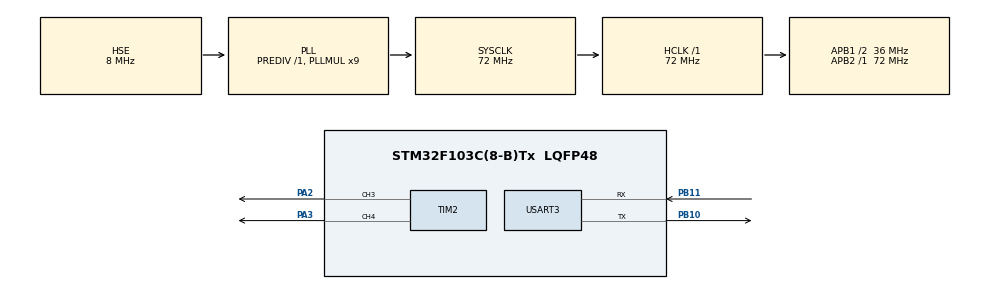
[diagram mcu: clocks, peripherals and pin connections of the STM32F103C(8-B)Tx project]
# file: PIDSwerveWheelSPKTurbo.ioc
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Mcu.Family=STM32F1
Mcu.Name=STM32F103C(8-B)Tx
Mcu.Package=LQFP48
NVIC.PriorityGroup=NVIC_PRIORITYGROUP_4
NVIC.TIM1_UP_IRQn=true\:15\:0\:false\:false\:true\:false\:true\:true
NVIC.TimeBase=TIM1_UP_IRQn
NVIC.TimeBaseIP=TIM1
NVIC.USART3_IRQn=true\:0\:0\:false\:false\:true\:true\:true\:true
PA13.Mode=Serial_Wire
PA13.Signal=SYS_JTMS-SWDIO
PA14.Mode=Serial_Wire
PA14.Signal=SYS_JTCK-SWCLK
PA2.Signal=S_TIM2_CH3
PA3.Signal=S_TIM2_CH4
PB10.Mode=Asynchronous
PB10.Signal=USART3_TX
PB11.Mode=Asynchronous
PB11.Signal=USART3_RX
PD0-OSC_IN.Mode=HSE-External-Oscillator
PD0-OSC_IN.Signal=RCC_OSC_IN
PD1-OSC_OUT.Mode=HSE-External-Oscillator
PD1-OSC_OUT.Signal=RCC_OSC_OUT
ProjectManager.HeapSize=0x200
ProjectManager.StackSize=0x400
ProjectManager.TargetToolchain=STM32CubeIDE
RCC.AHBFreq_Value=72000000
RCC.APB1CLKDivider=RCC_HCLK_DIV2
RCC.APB1Freq_Value=36000000
RCC.APB1TimFreq_Value=72000000
RCC.APB2Freq_Value=72000000
RCC.APB2TimFreq_Value=72000000
RCC.HCLKFreq_Value=72000000
RCC.PLLMUL=RCC_PLL_MUL9
RCC.PLLSourceVirtual=RCC_PLLSOURCE_HSE
RCC.SYSCLKFreq_VALUE=72000000
RCC.SYSCLKSource=RCC_SYSCLKSOURCE_PLLCLK
RCC.USBFreq_Value=72000000
SH.S_TIM2_CH3.0=TIM2_CH3,PWM Generation3 CH3
SH.S_TIM2_CH4.0=TIM2_CH4,PWM Generation4 CH4
TIM2.Channel-PWM\ Generation3\ CH3=TIM_CHANNEL_3
TIM2.Channel-PWM\ Generation4\ CH4=TIM_CHANNEL_4
TIM3.Period=1000-1
TIM3.Prescaler=72-1
TIM4.Period=1000-1
TIM4.Prescaler=72-1
USART3.VirtualMode=VM_ASYNC
VP_SYS_VS_tim1.Mode=TIM1
VP_TIM3_VS_ClockSourceINT.Mode=Internal
VP_TIM4_VS_ClockSourceINT.Mode=Internal
board=custom

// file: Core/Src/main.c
/* USER CODE BEGIN Header */
/**
  ******************************************************************************
  * @file           : main.c
  * @brief          : Main program body
  ******************************************************************************
  * @attention
  *
  * Copyright (c) 2023 STMicroelectronics.
  * All rights reserved.
  *
  * This software is licensed under terms that can be found in the LICENSE file
  * in the root directory of this software component.
  * If no LICENSE file comes with this software, it is provided AS-IS.
  *
  ******************************************************************************
  */
/* USER CODE END Header */
#include "main.h"

/* USER CODE BEGIN Includes */
#include "PID.h"
#include "string.h"
#include "stdlib.h"
/* USER CODE END Includes */

/* USER CODE BEGIN PM */
/* ---------------------------Begin: General Macro----------------------------*/

#define __SecPerMin	60

/* ---------------------------End: General Macro------------------------------*/

/* ---------------------------Begin: Initial Macro----------------------------*/

#define AtHome 0
#define OutHome 1
#define IntialFindingSpeed 20
#define AccurateFindingSpeed 2
#define FindingDegreeAboveLimit 180
#define FindingDegreeBelowLimit -180
#define AccurateFindingDegreeAboveLimit 10
#define AccurateFindingDegreeBelowLimit -10
#define IntialState 0
#define IntialStopAndResetState 1
#define AccurateFindingState 2
#define AccurateStopAndResetState 3
#define EndState 4

/* ---------------------------End: Initial Macro------------------------------*/

/* ------------------------------------------------------------------------------------------------------------------*/

/* ---------------------------Begin: BLDC Macro--------------------------------*/

#define BLDCDeltaT 0.001
#define __BLDCPPR 0	// undefined
#define __BLDCGearRatio 0	// undefined

/* ---------------------------End: BLDC Macro----------------------------------*/

/* ---------------------------Begin: PID BLDC Macro----------------------------*/

#define BLDCPropotional 0	// undefined
#define BLDCIntergral 0	// undefined
#define BLDCDerivative 0	// undefined
#define BLDCAlpha 0	// undefined
#define BLDCDeltaT 0.001
#define BLDCClockWise 1
#define BLDCCounterClockWise 0
#define BLDCIntergralAboveLimit 1000
#define BLDCIntergralBelowLimit -1000
#define BLDCSumAboveLimit 1000
#define BLDCSumBelowLimit -1000

double target_BLDC_Speed;

/* ---------------------------End: PID BLDC Macro------------------------------*/

/* ---------------------------Begin: DC Macro----------------------------------*/

#define DCDeltaT 0.001
#define __DCPPR 0	// undefined
#define __DCGearRatio 0	// undefined

/* ---------------------------End: DC Macro------------------------------------*/

/* ---------------------------Begin: PID DC Macro (SPEED)----------------------*/

#define DC_SpeedPropotional 0	// undefined
#define DC_SpeedIntergral 0	// undefined
#define DC_SpeedDerivative 0	// undefined
#define DC_SpeedAlpha 0	// undefined
#define DC_SpeedDeltaT 0.001
#define DC_SpeedStop 0
#define DC_SpeedIntergralAboveLimit 1000
#define DC_SpeedIntergralBelowLimit -1000
#define DC_SpeedSumAboveLimit 1000
#define DC_SpeedSumBelowLimit -1000

double target_DC_Speed;

/* ---------------------------End: PID DC Macro (SPEED)------------------------*/

/* ---------------------------Begin: PID DC Macro (POSITION)-------------------*/

#define DC_PositionPropotional 0
#define DC_PositionIntergral 0
#define DC_PositionDerivative 0
#define DC_PositionAlpha 0
#define DC_PositionDeltaT 0.001
#define DC_PositionIntergralAboveLimit 1000
#define DC_PositionIntergralBelowLimit -1000
#define DC_PositionSumAboveLimit 1000
#define DC_PositionSumBelowLimit -1000
#define FilterAlpha 0

double target_DC_Position;

/* ---------------------------End: PID DC Macro (POSITION)---------------------*/

/* ------------------------------------------------------------------------------------------------------------------*/

/* USER CODE END PM */

TIM_HandleTypeDef htim2;
TIM_HandleTypeDef htim3;
TIM_HandleTypeDef htim4;

UART_HandleTypeDef huart3;

/* USER CODE BEGIN PV */
/* --------------------------Begin: Home Variables----------------------------*/

uint8_t HomeState;
uint8_t RunState;
uint8_t IntialSpeed;
uint8_t HomeFound;
uint8_t TestCommand;
int TestCommand2;

/* --------------------------End: Home Variables------------------------------*/

/* --------------------------Begin: Encoder Read Variables--------------------*/

int8_t RotateState = 1;

/* --------------------------End: Encoder Read Variables----------------------*/

PID_Param PID_BLDC;
PID_Param PID_DC_SPEED;
PID_Param PID_DC_POSITION;

EncoderRead ENC_BLDC;
EncoderRead ENC_DC;

MotorDrive BLDC;
MotorDrive DC;

/* ------------------------------------------------------------------------------------------------------------------*/

/* USER CODE END PV */

void SystemClock_Config(void);
static void MX_GPIO_Init(void);
static void MX_TIM2_Init(void);
static void MX_TIM3_Init(void);
static void MX_TIM4_Init(void);
static void MX_USART3_UART_Init(void);

int main(void)
{

  /* MCU Configuration--------------------------------------------------------*/

  /* Reset of all peripherals, Initializes the Flash interface and the Systick. */
  HAL_Init();

  /* Configure the system clock */
  SystemClock_Config();

  /* Initialize all configured peripherals */
  MX_GPIO_Init();
  MX_TIM2_Init();
  MX_TIM3_Init();
  MX_TIM4_Init();
  MX_USART3_UART_Init();
  /* USER CODE BEGIN 2 */
  HAL_TIM_PWM_Start(&htim2, TIM_CHANNEL_3);
  HAL_TIM_PWM_Start(&htim2, TIM_CHANNEL_4);
  HAL_TIM_Encoder_Start_IT(&htim3, TIM_CHANNEL_ALL);
  HAL_TIM_Encoder_Start_IT(&htim4, TIM_CHANNEL_ALL);

  HAL_Delay(1000);

  EncoderSetting(&ENC_BLDC, &htim3, __BLDCPPR * __BLDCGearRatio, BLDCDeltaT);
  EncoderSetting(&ENC_DC, &htim4, __DCPPR * __DCGearRatio, DCDeltaT);

  Pid_SetParam(&PID_BLDC, BLDCPropotional, BLDCIntergral, BLDCDerivative, BLDCAlpha, BLDCDeltaT, BLDCIntergralAboveLimit, BLDCIntergralBelowLimit, BLDCSumAboveLimit, BLDCSumBelowLimit);
  Pid_

  /* USER CODE END 2 */

  /* Infinite loop */
  while (1)
  {

  }
}

void SystemClock_Config(void)
{
  RCC_OscInitTypeDef RCC_OscInitStruct = {0};
  RCC_ClkInitTypeDef RCC_ClkInitStruct = {0};

  /** Initializes the RCC Oscillators according to the specified parameters
  * in the RCC_OscInitTypeDef structure.
  */
  RCC_OscInitStruct.OscillatorType = RCC_OSCILLATORTYPE_HSE;
  RCC_OscInitStruct.HSEState = RCC_HSE_ON;
  RCC_OscInitStruct.HSEPredivValue = RCC_HSE_PREDIV_DIV1;
  RCC_OscInitStruct.HSIState = RCC_HSI_ON;
  RCC_OscInitStruct.PLL.PLLState = RCC_PLL_ON;
  RCC_OscInitStruct.PLL.PLLSource = RCC_PLLSOURCE_HSE;
  RCC_OscInitStruct.PLL.PLLMUL = RCC_PLL_MUL9;
  if (HAL_RCC_OscConfig(&RCC_OscInitStruct) != HAL_OK)
  {
    Error_Handler();
  }

  /** Initializes the CPU, AHB and APB buses clocks
  */
  RCC_ClkInitStruct.ClockType = RCC_CLOCKTYPE_HCLK|RCC_CLOCKTYPE_SYSCLK
                              |RCC_CLOCKTYPE_PCLK1|RCC_CLOCKTYPE_PCLK2;
  RCC_ClkInitStruct.SYSCLKSource = RCC_SYSCLKSOURCE_PLLCLK;
  RCC_ClkInitStruct.AHBCLKDivider = RCC_SYSCLK_DIV1;
  RCC_ClkInitStruct.APB1CLKDivider = RCC_HCLK_DIV2;
  RCC_ClkInitStruct.APB2CLKDivider = RCC_HCLK_DIV1;

  if (HAL_RCC_ClockConfig(&RCC_ClkInitStruct, FLASH_LATENCY_2) != HAL_OK)
  {
    Error_Handler();
  }
}

static void MX_TIM2_Init(void)
{

  TIM_MasterConfigTypeDef sMasterConfig = {0};
  TIM_OC_InitTypeDef sConfigOC = {0};

  htim2.Instance = TIM2;
  htim2.Init.Prescaler = 0;
  htim2.Init.CounterMode = TIM_COUNTERMODE_UP;
  htim2.Init.Period = 65535;
  htim2.Init.ClockDivision = TIM_CLOCKDIVISION_DIV1;
  htim2.Init.AutoReloadPreload = TIM_AUTORELOAD_PRELOAD_DISABLE;
  if (HAL_TIM_PWM_Init(&htim2) != HAL_OK)
  {
    Error_Handler();
  }
  sMasterConfig.MasterOutputTrigger = TIM_TRGO_RESET;
  sMasterConfig.MasterSlaveMode = TIM_MASTERSLAVEMODE_DISABLE;
  if (HAL_TIMEx_MasterConfigSynchronization(&htim2, &sMasterConfig) != HAL_OK)
  {
    Error_Handler();
  }
  sConfigOC.OCMode = TIM_OCMODE_PWM1;
  sConfigOC.Pulse = 0;
  sConfigOC.OCPolarity = TIM_OCPOLARITY_HIGH;
  sConfigOC.OCFastMode = TIM_OCFAST_DISABLE;
  if (HAL_TIM_PWM_ConfigChannel(&htim2, &sConfigOC, TIM_CHANNEL_3) != HAL_OK)
  {
    Error_Handler();
  }
  if (HAL_TIM_PWM_ConfigChannel(&htim2, &sConfigOC, TIM_CHANNEL_4) != HAL_OK)
  {
    Error_Handler();
  }
  HAL_TIM_MspPostInit(&htim2);

}

static void MX_TIM3_Init(void)
{

  TIM_ClockConfigTypeDef sClockSourceConfig = {0};
  TIM_MasterConfigTypeDef sMasterConfig = {0};

  htim3.Instance = TIM3;
  htim3.Init.Prescaler = 72-1;
  htim3.Init.CounterMode = TIM_COUNTERMODE_UP;
  htim3.Init.Period = 1000-1;
  htim3.Init.ClockDivision = TIM_CLOCKDIVISION_DIV1;
  htim3.Init.AutoReloadPreload = TIM_AUTORELOAD_PRELOAD_DISABLE;
  if (HAL_TIM_Base_Init(&htim3) != HAL_OK)
  {
    Error_Handler();
  }
  sClockSourceConfig.ClockSource = TIM_CLOCKSOURCE_INTERNAL;
  if (HAL_TIM_ConfigClockSource(&htim3, &sClockSourceConfig) != HAL_OK)
  {
    Error_Handler();
  }
  sMasterConfig.MasterOutputTrigger = TIM_TRGO_RESET;
  sMasterConfig.MasterSlaveMode = TIM_MASTERSLAVEMODE_DISABLE;
  if (HAL_TIMEx_MasterConfigSynchronization(&htim3, &sMasterConfig) != HAL_OK)
  {
    Error_Handler();
  }

}

static void MX_TIM4_Init(void)
{

  TIM_ClockConfigTypeDef sClockSourceConfig = {0};
  TIM_MasterConfigTypeDef sMasterConfig = {0};

  htim4.Instance = TIM4;
  htim4.Init.Prescaler = 72-1;
  htim4.Init.CounterMode = TIM_COUNTERMODE_UP;
  htim4.Init.Period = 1000-1;
  htim4.Init.ClockDivision = TIM_CLOCKDIVISION_DIV1;
  htim4.Init.AutoReloadPreload = TIM_AUTORELOAD_PRELOAD_DISABLE;
  if (HAL_TIM_Base_Init(&htim4) != HAL_OK)
  {
    Error_Handler();
  }
  sClockSourceConfig.ClockSource = TIM_CLOCKSOURCE_INTERNAL;
  if (HAL_TIM_ConfigClockSource(&htim4, &sClockSourceConfig) != HAL_OK)
  {
    Error_Handler();
  }
  sMasterConfig.MasterOutputTrigger = TIM_TRGO_RESET;
  sMasterConfig.MasterSlaveMode = TIM_MASTERSLAVEMODE_DISABLE;
  if (HAL_TIMEx_MasterConfigSynchronization(&htim4, &sMasterConfig) != HAL_OK)
  {
    Error_Handler();
  }

}

static void MX_USART3_UART_Init(void)
{

  huart3.Instance = USART3;
  huart3.Init.BaudRate = 115200;
  huart3.Init.WordLength = UART_WORDLENGTH_8B;
  huart3.Init.StopBits = UART_STOPBITS_1;
  huart3.Init.Parity = UART_PARITY_NONE;
  huart3.Init.Mode = UART_MODE_TX_RX;
  huart3.Init.HwFlowCtl = UART_HWCONTROL_NONE;
  huart3.Init.OverSampling = UART_OVERSAMPLING_16;
  if (HAL_UART_Init(&huart3) != HAL_OK)
  {
    Error_Handler();
  }

}

static void MX_GPIO_Init(void)
{

  /* GPIO Ports Clock Enable */
  __HAL_RCC_GPIOD_CLK_ENABLE();
  __HAL_RCC_GPIOA_CLK_ENABLE();
  __HAL_RCC_GPIOB_CLK_ENABLE();

}

void HAL_TIM_PeriodElapsedCallback(TIM_HandleTypeDef *htim)
{
  if (htim->Instance == TIM1) {
    HAL_IncTick();
  }
}

void Error_Handler(void)
{
  __disable_irq();
  while (1)
  {
  }
}
